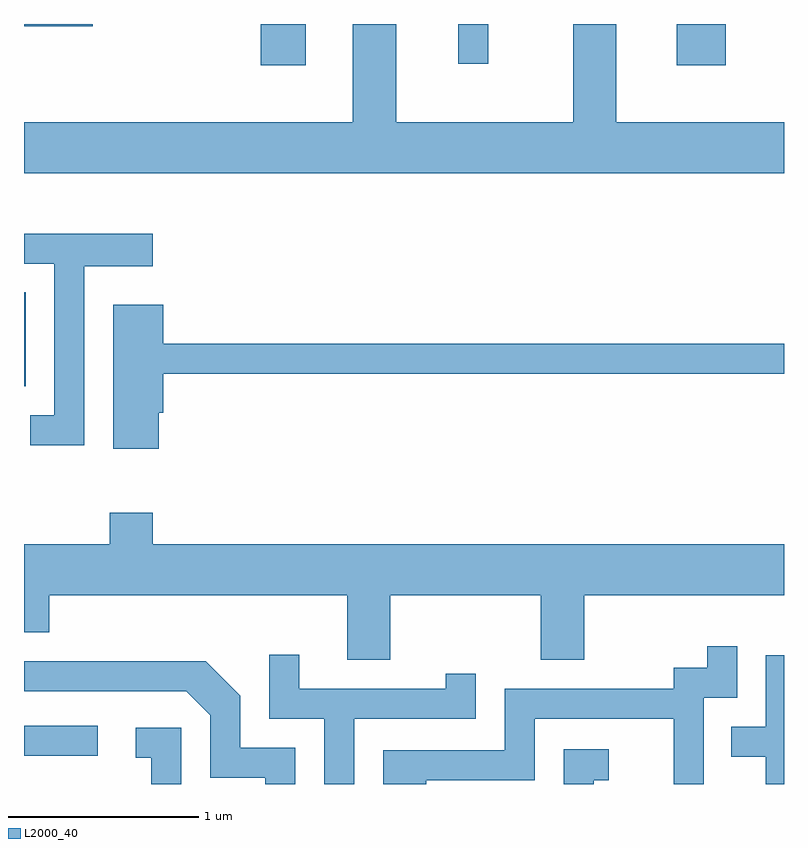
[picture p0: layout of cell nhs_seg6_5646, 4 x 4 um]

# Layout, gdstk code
import gdstk
lib = gdstk.Library(unit=1e-6, precision=1e-09)
def R(c, l, rs):  # rectangles x0, y0, x1, y1
    for r in rs: c.add(gdstk.rectangle(r[:2], r[2:], *l))
def P(c, l, *ps):  # polygons
    for p in ps: c.add(gdstk.Polygon(p, *l))
L2000_40 = (2000, 40)

nhs_seg6_5646 = lib.new_cell('nhs_seg6_5646')
R(nhs_seg6_5646, L2000_40, [(357.611,1540.311,357.998,1540.469), (357.611,1542.256,357.619,1542.749), (358.856,1543.946,359.094,1544.162), (361.046,1543.946,361.304,1544.162), (359.896,1543.953,360.054,1544.162), (357.611,1544.151,357.974,1544.162)])
P(nhs_seg6_5646, L2000_40, [(361.611,1543.644),(360.729,1543.644),(360.729,1544.162),(360.501,1544.162),(360.501,1543.644),(359.569,1543.644),(359.569,1544.162),(359.341,1544.162),(359.341,1543.644),(357.611,1543.644),(357.611,1543.376),(361.611,1543.376)],
  [(357.929,1542.886),(358.289,1542.886),(358.289,1543.059),(357.611,1543.059),(357.611,1542.901),(357.771,1542.901),(357.771,1542.104),(357.643,1542.104),(357.643,1541.946),(357.929,1541.946)],
  [(358.319,1542.116),(358.344,1542.116),(358.344,1542.321),(361.611,1542.321),(361.611,1542.479),(358.344,1542.479),(358.344,1542.684),(358.081,1542.684),(358.081,1541.926),(358.319,1541.926)],
  [(359.539,1541.156),(360.331,1541.156),(360.331,1540.816),(360.559,1540.816),(360.559,1541.156),(361.611,1541.156),(361.611,1541.424),(358.289,1541.424),(358.289,1541.589),(358.061,1541.589),(358.061,1541.424),(357.611,1541.424),(357.611,1540.961),(357.744,1540.961),(357.744,1541.156),(359.311,1541.156),(359.311,1540.816),(359.539,1540.816)],
  [(359.729,1540.181),(360.299,1540.181),(360.299,1540.506),(361.031,1540.506),(361.031,1540.162),(361.189,1540.162),(361.189,1540.616),(361.364,1540.616),(361.364,1540.888),(361.206,1540.888),(361.206,1540.774),(361.031,1540.774),(361.031,1540.664),(360.141,1540.664),(360.141,1540.339),(359.501,1540.339),(359.501,1540.162),(359.729,1540.162)],
  [(359.349,1540.506),(359.989,1540.506),(359.989,1540.743),(359.831,1540.743),(359.831,1540.664),(359.059,1540.664),(359.059,1540.843),(358.901,1540.843),(358.901,1540.506),(359.191,1540.506),(359.191,1540.162),(359.349,1540.162)],
  [(361.611,1540.839),(361.516,1540.839),(361.516,1540.464),(361.333,1540.464),(361.333,1540.306),(361.516,1540.306),(361.516,1540.162),(361.611,1540.162)],
  [(359.039,1540.354),(358.749,1540.354),(358.749,1540.627),(358.567,1540.809),(357.611,1540.809),(357.611,1540.651),(358.464,1540.651),(358.591,1540.524),(358.591,1540.196),(358.881,1540.196),(358.881,1540.162),(359.039,1540.162)],
  [(358.439,1540.459),(358.198,1540.459),(358.198,1540.301),(358.281,1540.301),(358.281,1540.162),(358.439,1540.162)],
  [(360.609,1540.181),(360.688,1540.181),(360.688,1540.344),(360.451,1540.344),(360.451,1540.162),(360.609,1540.162)])

lib.write_gds('nhs_seg6_5646.gds')
